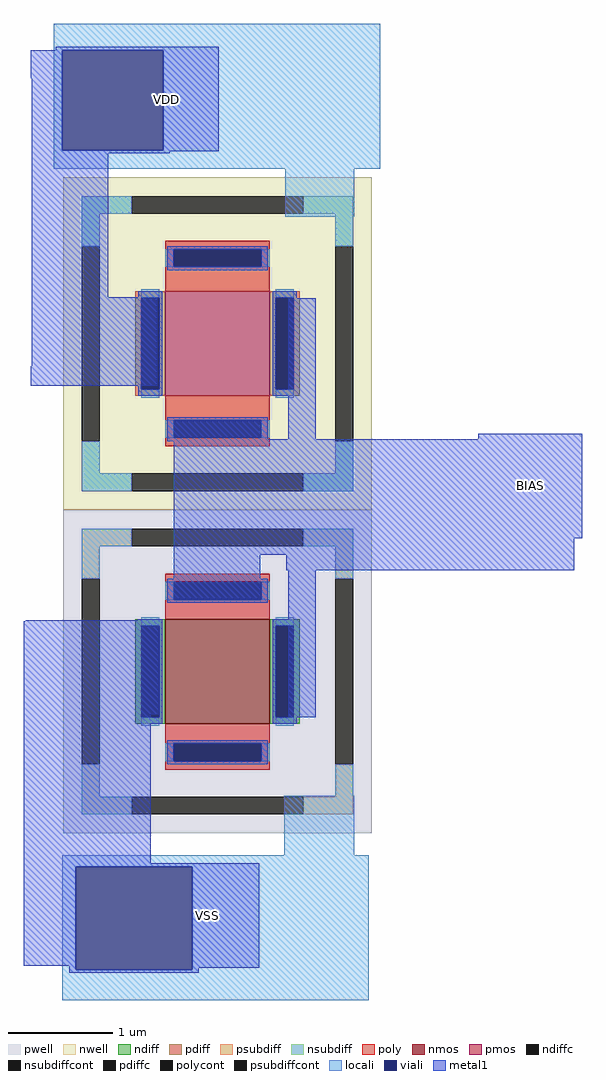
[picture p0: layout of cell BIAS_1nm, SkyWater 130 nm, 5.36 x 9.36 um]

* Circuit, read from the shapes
.subckt BIAS_1nm VDD VSS BIAS
XM1 BIAS BIAS VSS VSS sky130_fd_pr__nfet_01v8 w=1 l=1
XM2 BIAS BIAS VDD VDD sky130_fd_pr__pfet_01v8 w=1 l=1
.ends

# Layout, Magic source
magic
tech sky130A
magscale 1 2
<< locali >>
rect 1174 904 1800 954
rect 1174 712 1190 904
rect 1384 712 1800 904
rect 1174 676 1800 712
rect 1618 584 1750 676
rect 1616 -640 1750 -526
rect 1190 -662 1778 -640
rect 1190 -860 1216 -662
rect 1440 -860 1778 -662
rect 1190 -918 1778 -860
<< viali >>
rect 1190 712 1384 904
rect 1216 -860 1440 -662
<< metal1 >>
rect 1178 904 1490 910
rect 1130 850 1190 904
rect 1132 712 1190 850
rect 1384 712 1490 904
rect 1132 710 1490 712
rect 1132 706 1396 710
rect 1132 430 1278 706
rect 1132 298 1372 430
rect 1130 260 1372 298
rect 1404 158 1572 192
rect 1624 158 1676 428
rect 1988 158 2188 168
rect 1404 -32 2188 158
rect 1404 -64 2172 -32
rect 1404 -148 1570 -64
rect 1620 -94 2172 -64
rect 1120 -192 1374 -190
rect 1116 -370 1374 -192
rect 1116 -656 1360 -370
rect 1624 -376 1676 -94
rect 1116 -662 1568 -656
rect 1116 -852 1216 -662
rect 1204 -860 1216 -852
rect 1440 -856 1568 -662
rect 1440 -860 1452 -856
rect 1204 -866 1452 -860
use sky130_fd_pr__nfet_01v8_2B38KW  XM3
transform 1 0 1488 0 1 -288
box -296 -310 296 310
use sky130_fd_pr__pfet_01v8_WCDYZ6  XM11
transform 1 0 1488 0 1 341
box -296 -319 296 319
<< labels >>
flabel metal1 1988 -32 2188 168 0 FreeSans 256 0 0 0 BIAS
port 2 nsew
flabel metal1 1368 -856 1568 -656 0 FreeSans 256 0 0 0 VSS
port 1 nsew
flabel metal1 1290 710 1490 910 0 FreeSans 256 0 0 0 VDD
port 0 nsew
<< end >>

# cell sky130_fd_pr__nfet_01v8_2B38KW: kit device sky130_fd_pr__nfet_01v8, w 1.0 l 1.0 m 1 nf 1 diffcov 100 polycov 100 guard 1 glc 1 grc 1 gtc 1 gbc 1 tbcov 100 rlcov 100 topc 1 botc 1 poverlap 0 doverlap 1 lmin 0.15 wmin 0.42 class mosfet compatible {sky130_fd_pr__nfet_01v8 sky130_fd_pr__nfet_01v8_lvt sky130_fd_bs_flash__special_sonosfet_star sky130_fd_pr__nfet_g5v0d10v5 sky130_fd_pr__nfet_05v0_nvt sky130_fd_pr__nfet_03v3_nvt} full_metal 1 viasrc 100 viadrn 100 viagate 100 viagb 0 viagr 0 viagl 0 viagt 0

# cell sky130_fd_pr__pfet_01v8_WCDYZ6: kit device sky130_fd_pr__pfet_01v8, w 1.0 l 1.0 m 1 nf 1 diffcov 100 polycov 100 guard 1 glc 1 grc 1 gtc 1 gbc 1 tbcov 100 rlcov 100 topc 1 botc 1 poverlap 0 doverlap 1 lmin 0.15 wmin 0.42 class mosfet compatible {sky130_fd_pr__pfet_01v8 sky130_fd_pr__pfet_01v8_lvt sky130_fd_pr__pfet_01v8_hvt sky130_fd_pr__pfet_g5v0d10v5} full_metal 1 viasrc 100 viadrn 100 viagate 100 viagb 0 viagr 0 viagl 0 viagt 0
